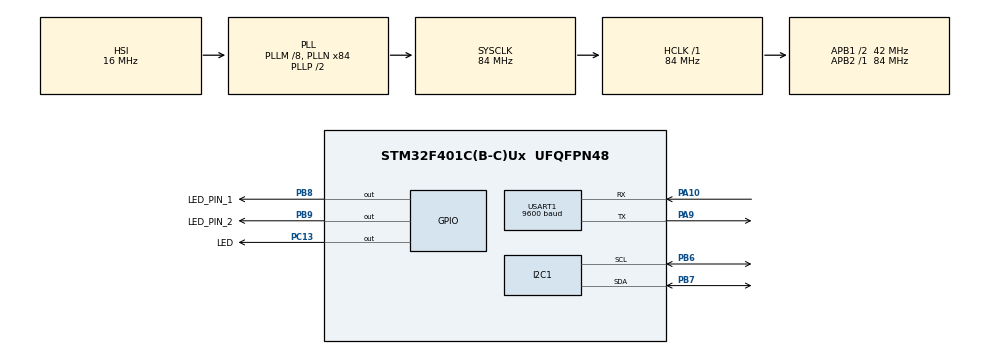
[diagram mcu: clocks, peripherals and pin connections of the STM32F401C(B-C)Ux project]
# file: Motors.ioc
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I2C1.I2C_Mode=I2C_Standard
Mcu.Family=STM32F4
Mcu.Name=STM32F401C(B-C)Ux
Mcu.Package=UFQFPN48
NVIC.PriorityGroup=NVIC_PRIORITYGROUP_4
PA10.Mode=Asynchronous
PA10.Signal=USART1_RX
PA9.Mode=Asynchronous
PA9.Signal=USART1_TX
PB6.Mode=I2C
PB6.Signal=I2C1_SCL
PB7.Mode=I2C
PB7.Signal=I2C1_SDA
PB8.GPIO_Label=LED_PIN_1
PB8.Signal=GPIO_Output
PB9.GPIO_Label=LED_PIN_2
PB9.PinState=GPIO_PIN_SET
PB9.Signal=GPIO_Output
PC13-ANTI_TAMP.GPIO_Label=LED
PC13-ANTI_TAMP.PinState=GPIO_PIN_RESET
PC13-ANTI_TAMP.Signal=GPIO_Output
ProjectManager.HeapSize=0x200
ProjectManager.StackSize=0x400
ProjectManager.TargetToolchain=STM32CubeIDE
RCC.48MHZClocksFreq_Value=42000000
RCC.AHBFreq_Value=84000000
RCC.APB1CLKDivider=RCC_HCLK_DIV2
RCC.APB1Freq_Value=42000000
RCC.APB1TimFreq_Value=84000000
RCC.APB2Freq_Value=84000000
RCC.APB2TimFreq_Value=84000000
RCC.CortexFreq_Value=84000000
RCC.HCLKFreq_Value=84000000
RCC.HSE_VALUE=25000000
RCC.HSI_VALUE=16000000
RCC.LSE_VALUE=32768
RCC.PLLM=8
RCC.PLLN=84
RCC.SYSCLKFreq_VALUE=84000000
RCC.SYSCLKSource=RCC_SYSCLKSOURCE_PLLCLK
RCC.VCOOutputFreq_Value=168000000
USART1.BaudRate=9600
USART1.VirtualMode=VM_ASYNC
board=custom

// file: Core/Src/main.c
/* USER CODE BEGIN Header */
/**
  ******************************************************************************
  * @file           : main.c
  * @brief          : Main program body
  ******************************************************************************
  * @attention
  *
  * Copyright (c) 100026 STMicroelectronics.
  * All rights reserved.
  *
  * This software is licensed under terms that can be found in the LICENSE file
  * in the root directory of this software component.
  * If no LICENSE file comes with this software, it is provided AS-IS.
  *
  ******************************************************************************
  */
/* USER CODE END Header */
#include "main.h"
#include "i2c.h"
#include "usart.h"
#include "gpio.h"

/* USER CODE BEGIN Includes */
#include "serial_print.h"
#include "motor_control.h"
#include "pca9685.h"
/* USER CODE END Includes */

void SystemClock_Config(void);
/* USER CODE BEGIN PFP */
Motor_HandleTypeDef motorA, motorB, motorC, motorD, motorE, motorF;
void move(int b, int d, int f)
{
  Motor_SetSpeed(&motorB, b);
  Motor_SetSpeed(&motorD, d);
  Motor_SetSpeed(&motorF, f);
  HAL_Delay(250);
  Motor_Brake(&motorB);
  Motor_Brake(&motorD);
  Motor_Brake(&motorF);
  HAL_Delay(2);
  Motor_Coast(&motorB);
  Motor_Coast(&motorD);
  Motor_Coast(&motorF);
  HAL_Delay(2000);
}
/* USER CODE END PFP */

/* USER CODE BEGIN 0 */
Motor_HandleTypeDef motorA, motorB, motorC, motorD, motorE, motorF;
/* USER CODE END 0 */

int main(void)
{

  /* MCU Configuration--------------------------------------------------------*/

  /* Reset of all peripherals, Initializes the Flash interface and the Systick. */
  HAL_Init();

  /* Configure the system clock */
  SystemClock_Config();

  /* Initialize all configured peripherals */
  MX_GPIO_Init();
  MX_I2C1_Init();
  MX_USART1_UART_Init();
  /* USER CODE BEGIN 2 */
  HAL_GPIO_WritePin(LED_PIN_1_GPIO_Port, LED_PIN_1_Pin, 1);
  PCA9685_Init(50);
  Motor_Init(&motorD, 0, 1);
  Motor_Init(&motorC, 2, 3);
  Motor_Init(&motorB, 4, 5);
  Motor_Init(&motorA, 6, 7);
  Motor_Init(&motorF, 11, 12);
  Motor_Init(&motorE, 13, 14);

  /*HAL_Delay(10000);
  PCA9685_SetFullOn(15);
  HAL_Delay(5000);
  PCA9685_SetFullOff(15);*/

  /* USER CODE END 2 */

  /* Infinite loop */
  /* USER CODE BEGIN WHILE */
  //HAL_Delay(5000);
  //move(-100, 0, 0);
  while (1)
  {
	  Motor_SetSpeed(&motorE, -100);
	  HAL_Delay(100);
	  //Motor_SetSpeed(&motorE, -100);
	  //HAL_Delay(250);
	  Motor_Brake(&motorE);
	  Motor_Coast(&motorE);
	  /*Motor_SetSpeed(&motorF, 100);
	  HAL_Delay(250);
	  Motor_SetSpeed(&motorF, -100);
	  HAL_Delay(250);
	  Motor_Brake(&motorF);
	  Motor_Coast(&motorF);
	  Motor_SetSpeed(&motorC, 100);
	  HAL_Delay(250);
	  Motor_SetSpeed(&motorC, -100);
	  HAL_Delay(250);
	  Motor_Brake(&motorC);
	  Motor_Coast(&motorC);
	  Motor_SetSpeed(&motorD, 100);
	  HAL_Delay(250);
	  Motor_SetSpeed(&motorD, -100);
	  HAL_Delay(250);
	  Motor_Brake(&motorD);
	  Motor_Coast(&motorD);*/
    /* USER CODE END WHILE */

  }
}

void SystemClock_Config(void)
{
  RCC_OscInitTypeDef RCC_OscInitStruct = {0};
  RCC_ClkInitTypeDef RCC_ClkInitStruct = {0};

  /** Configure the main internal regulator output voltage
  */
  __HAL_RCC_PWR_CLK_ENABLE();
  __HAL_PWR_VOLTAGESCALING_CONFIG(PWR_REGULATOR_VOLTAGE_SCALE2);

  /** Initializes the RCC Oscillators according to the specified parameters
  * in the RCC_OscInitTypeDef structure.
  */
  RCC_OscInitStruct.OscillatorType = RCC_OSCILLATORTYPE_HSI;
  RCC_OscInitStruct.HSIState = RCC_HSI_ON;
  RCC_OscInitStruct.HSICalibrationValue = RCC_HSICALIBRATION_DEFAULT;
  RCC_OscInitStruct.PLL.PLLState = RCC_PLL_ON;
  RCC_OscInitStruct.PLL.PLLSource = RCC_PLLSOURCE_HSI;
  RCC_OscInitStruct.PLL.PLLM = 8;
  RCC_OscInitStruct.PLL.PLLN = 84;
  RCC_OscInitStruct.PLL.PLLP = RCC_PLLP_DIV2;
  RCC_OscInitStruct.PLL.PLLQ = 4;
  if (HAL_RCC_OscConfig(&RCC_OscInitStruct) != HAL_OK)
  {
    Error_Handler();
  }

  /** Initializes the CPU, AHB and APB buses clocks
  */
  RCC_ClkInitStruct.ClockType = RCC_CLOCKTYPE_HCLK|RCC_CLOCKTYPE_SYSCLK
                              |RCC_CLOCKTYPE_PCLK1|RCC_CLOCKTYPE_PCLK2;
  RCC_ClkInitStruct.SYSCLKSource = RCC_SYSCLKSOURCE_PLLCLK;
  RCC_ClkInitStruct.AHBCLKDivider = RCC_SYSCLK_DIV1;
  RCC_ClkInitStruct.APB1CLKDivider = RCC_HCLK_DIV2;
  RCC_ClkInitStruct.APB2CLKDivider = RCC_HCLK_DIV1;

  if (HAL_RCC_ClockConfig(&RCC_ClkInitStruct, FLASH_LATENCY_2) != HAL_OK)
  {
    Error_Handler();
  }
}

void Error_Handler(void)
{
  __disable_irq();
  while (1)
  {
  }
}
